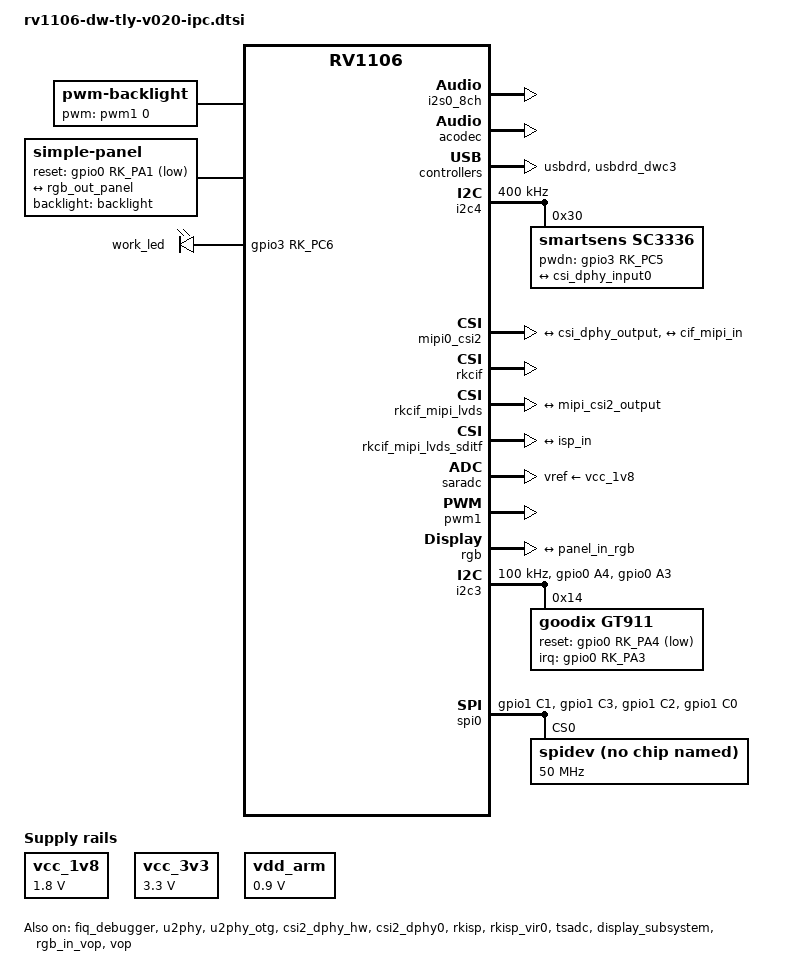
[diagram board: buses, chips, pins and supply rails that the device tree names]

// SPDX-License-Identifier: (GPL-2.0+ OR MIT)
/*
 * Copyright (c) 2022 Rockchip Electronics Co., Ltd.
 */
/* V020 板级专用副本；不修改 V014 的共用 dtsi。 */
#include "rv1106-amp.dtsi"
#include "rv1106-evb.dtsi"
#include <dt-bindings/input/input.h>
#include <dt-bindings/display/media-bus-format.h>

/ {
	chosen {
		bootargs = "earlycon=uart8250,mmio32,0xff4c0000 console=ttyFIQ0 root=/dev/mmcblk0p7 rootwait snd_soc_core.prealloc_buffer_size_kbytes=16 coherent_pool=0";
	};

	backlight: backlight {
		status = "okay";
		compatible = "pwm-backlight";
		pwms = <&pwm1 0 25000 12500>;
		brightness-levels = <
			  0   1   2   3   4   5   6   7
			  8   9  10  11  12  13  14  15
			 16  17  18  19  20  21  22  23
			 24  25  26  27  28  29  30  31
			 32  33  34  35  36  37  38  39
			 40  41  42  43  44  45  46  47
			 48  49  50  51  52  53  54  55
			 56  57  58  59  60  61  62  63
			 64  65  66  67  68  69  70  71
			 72  73  74  75  76  77  78  79
			 80  81  82  83  84  85  86  87
			 88  89  90  91  92  93  94  95
			 96  97  98  99 100 101 102 103
			104 105 106 107 108 109 110 111
			112 113 114 115 116 117 118 119
			120 121 122 123 124 125 126 127
			128 129 130 131 132 133 134 135
			136 137 138 139 140 141 142 143
			144 145 146 147 148 149 150 151
			152 153 154 155 156 157 158 159
			160 161 162 163 164 165 166 167
			168 169 170 171 172 173 174 175
			176 177 178 179 180 181 182 183
			184 185 186 187 188 189 190 191
			192 193 194 195 196 197 198 199
			200 201 202 203 204 205 206 207
			208 209 210 211 212 213 214 215
			216 217 218 219 220 221 222 223
			224 225 226 227 228 229 230 231
			232 233 234 235 236 237 238 239
			240 241 242 243 244 245 246 247
			248 249 250 251 252 253 254 255>;
		default-brightness-level = <255>;
	};

	panel: panel {
		compatible = "simple-panel";
		backlight = <&backlight>;

		reset-gpios = <&gpio0 RK_PA1 GPIO_ACTIVE_LOW>;
		reset-delay-ms = <200>;
		status = "okay";

		bus-format = <MEDIA_BUS_FMT_RGB666_1X18>;
		width-mm = <85>;
		height-mm = <85>;

		display-timings {
			native-mode = <&timing0>;

			timing0: timing0 {
				clock-frequency = <30000000>;
				hactive = <720>;
				vactive = <720>;
				hback-porch = <44>;
				hfront-porch = <46>;
				vback-porch = <18>;
				vfront-porch = <16>;
				hsync-len = <2>;
				vsync-len = <2>;
				hsync-active = <0>;
				vsync-active = <0>;
				de-active = <0>;
				pixelclk-active = <0>;
			};
		};

		port {
			panel_in_rgb: endpoint {
				remote-endpoint = <&rgb_out_panel>;
			};
		};
	};

	reserved_memory: reserved-memory {
		status = "okay";
		#address-cells = <1>;
		#size-cells = <1>;
		ranges;
		drm_logo: drm-logo@00000000 {
			compatible = "rockchip,drm-logo";
			reg = <0x0 0x0>;
		};
		linux,cma {
			status = "okay";
			compatible = "shared-dma-pool";
			inactive;
			reusable;
			size = <0xA00000>; //10M
			linux,cma-default;
		};
	};

	acodec_sound: acodec-sound {
		compatible = "simple-audio-card";
		simple-audio-card,name = "rv1106-acodec";
		simple-audio-card,format = "i2s";
		simple-audio-card,mclk-fs = <256>;
		simple-audio-card,cpu {
			sound-dai = <&i2s0_8ch>;
		};
		simple-audio-card,codec {
			sound-dai = <&acodec>;
		};
	};

	dsm_sound: dsm-sound {
		status = "disabled";
		compatible = "simple-audio-card";
		simple-audio-card,format = "i2s";
		simple-audio-card,mclk-fs = <256>;
		simple-audio-card,name = "rockchip,dsm-sound";
		simple-audio-card,bitclock-master = <&sndcodec>;
		simple-audio-card,frame-master = <&sndcodec>;
		sndcpu: simple-audio-card,cpu {
			sound-dai = <&i2s0_8ch>;
		};
		sndcodec: simple-audio-card,codec {
			sound-dai = <&dsm>;
		};
	};

	vcc_1v8: vcc-1v8 {
		compatible = "regulator-fixed";
		regulator-name = "vcc_1v8";
		regulator-always-on;
		regulator-boot-on;
		regulator-min-microvolt = <1800000>;
		regulator-max-microvolt = <1800000>;
	};

	vcc_3v3: vcc-3v3 {
		compatible = "regulator-fixed";
		regulator-name = "vcc_3v3";
		regulator-always-on;
		regulator-boot-on;
		regulator-min-microvolt = <3300000>;
		regulator-max-microvolt = <3300000>;
	};

	vdd_arm: vdd-arm {
		compatible = "regulator-fixed";
		regulator-name = "vdd_arm";
		regulator-min-microvolt = <900000>;
		regulator-max-microvolt = <900000>;
		regulator-always-on;

		regulator-boot-on;
	};

	leds: leds {
		compatible = "gpio-leds";
		work_led: work{
			gpios = <&gpio3 RK_PC6 GPIO_ACTIVE_HIGH>;
			linux,default-trigger = "activity";
			default-state = "on";
		};
	};
};

/***************************** audio ********************************/
&i2s0_8ch {
	#sound-dai-cells = <0>;
	status = "okay";
};

&acodec {
	#sound-dai-cells = <0>;
	pa-ctl-gpios = <&gpio3 RK_PD3 GPIO_ACTIVE_HIGH>;
	status = "okay";
};

/************************* FIQ_DUBUGGER ****************************/
&fiq_debugger {
	rockchip,irq-mode-enable = <1>;
	status = "okay";
};

/***************************** USB *********************************/
&u2phy {
	status = "okay";
};

&u2phy_otg {
	status = "okay";
};

&usbdrd {
	status = "okay";
};

&usbdrd_dwc3 {
	extcon = <&u2phy>;
	status = "okay";
};

/***************************** DSM *********************************/
&dsm {
	status = "disabled";
};

&cpu0 {
	cpu-supply = <&vdd_arm>;
};

/************************ CPU DVFS / OPP 电压限定 *************************
 * V020 的 CPU 电源是固定 0.9V：U9(RY3430) 的 FB 由 R26=10k(VDD_0V9→FB)、
 * R27=20k(FB→GND) 固定分压，L3 输出 VDD_0V9；网表上没有 CPU 侧 PWM/I2C
 * 到 U9 的控制路径。该轨同时接 RV1106 CPU_DVDD(pin115)、DVDD_1..7、
 * PMU_DVDD0V9、OSC_PLL_DVDD，因此**不能**随 CPU 频率抬高。
 *
 * 共用 rv1106.dtsi 的 cpu0-opp-table 是按可调 rail 设计的：1.416GHz 额定
 * 925mV、1.512GHz 975mV、1.608GHz 1000mV，均高于 0.9V。在这块板上运行时
 * 会以 -EINVAL 反复失败，来源有三处：
 *   1) rockchip_pvtpll_calibrate_opp() 在首个 u_volt>0.9V 的 OPP 上
 *      regulator_set_voltage 失败（rockchip_pvtpll_set_volt: -22）并中止校准；
 *   2) rockchip_system_monitor 低温补偿（rockchip,low-temp=10℃）会把 1.608GHz
 *      档的 (min,target,max) 抬成 (1000000,1000000,1000000)，固定 rail 无法
 *      满足（drivers/opp/core.c _set_opp_voltage: -22）；
 *   3) 上述失败使 cpu_opp_helper/__target_index 整个换档失败，日志刷屏。
 *
 * 处理：只保留额定电压 ≤0.9V 的档（≤1.296GHz，额定 875mV），并把保留档的
 * target/min/max 全部钉在 0.9V，使固定的 vdd_arm 与 OPP 请求一致；额定电压
 * 高于 0.9V 的档（≥1.416GHz）直接删除。不把固定 regulator 伪装成可调，也不
 * 删除 cpu-supply。
 * 注意：1.296GHz 是额定 ≤900mV 的最高档（875mV）；若日后实测该档在 0.9V 下
 * 不稳，应继续下调上限到 1.2GHz（额定 850mV）。
 */
&cpu0_opp_table {
	/* 与固定 0.9V 一致，禁止低温补偿把 OPP 电压抬到 >0.9V */
	rockchip,low-temp-min-volt = <900000>;

	/* 额定电压 >0.9V 的高压档，在 0.9V 下不可运行，删除 */
	/delete-node/ opp-1416000000;
	/delete-node/ opp-1512000000;
	/delete-node/ opp-1608000000;

	/* 保留档（≤1.296GHz）：target/min/max 全部 = 固定 rail 0.9V */
	opp-408000000 {
		opp-microvolt = <900000 900000 900000>;
	};
	opp-600000000 {
		opp-microvolt = <900000 900000 900000>;
	};
	opp-816000000 {
		opp-microvolt = <900000 900000 900000>;
	};
	opp-1104000000 {
		opp-microvolt = <900000 900000 900000>;
	};
	opp-1200000000 {
		opp-microvolt = <900000 900000 900000>;
	};
	opp-1296000000 {
		opp-microvolt = <900000 900000 900000>;
	};
};

/*************************** CSI *********************************/
&csi2_dphy_hw {
	status = "okay";
};

&csi2_dphy0 {
	status = "okay";

	ports {
		#address-cells = <1>;
		#size-cells = <0>;

		port@0 {
			reg = <0>;
			#address-cells = <1>;
			#size-cells = <0>;

			csi_dphy_input0: endpoint@0 {
				reg = <0>;
				remote-endpoint = <&sc3336_out>;
				data-lanes = <1 2>;
			};
		};

		port@1 {
			reg = <1>;
			#address-cells = <1>;
			#size-cells = <0>;

			csi_dphy_output: endpoint@0 {
				reg = <0>;
				remote-endpoint = <&mipi_csi2_input>;
			};
		};
	};
};

&i2c4 {
	status = "okay";
	clock-frequency = <400000>;
	//pinctrl-names = "default";
	//pinctrl-0 = <&i2c4m2_xfer>;

	sc3336: sc3336@30 {
		compatible = "smartsens,sc3336";
		status = "okay";
		reg = <0x30>;
		clocks = <&cru MCLK_REF_MIPI0>;
		clock-names = "xvclk";
		pwdn-gpios = <&gpio3 RK_PC5 GPIO_ACTIVE_HIGH>;
		pinctrl-names = "default";
		pinctrl-0 = <&mipi_refclk_out0>;
		rockchip,camera-module-index = <0>;
		rockchip,camera-module-facing = "back";
		rockchip,camera-module-name = "CMK-OT2119-PC1";
		rockchip,camera-module-lens-name = "30IRC-F16";
		port {
			sc3336_out: endpoint {
				remote-endpoint = <&csi_dphy_input0>;
				data-lanes = <1 2>;
			};
		};
	};
};

&mipi0_csi2 {
	status = "okay";

	ports {
		#address-cells = <1>;
		#size-cells = <0>;

		port@0 {
			reg = <0>;
			#address-cells = <1>;
			#size-cells = <0>;

			mipi_csi2_input: endpoint@1 {
				reg = <1>;
				remote-endpoint = <&csi_dphy_output>;
			};
		};

		port@1 {
			reg = <1>;
			#address-cells = <1>;
			#size-cells = <0>;

			mipi_csi2_output: endpoint@0 {
				reg = <0>;
				remote-endpoint = <&cif_mipi_in>;
			};
		};
	};
};

&rkcif {
	status = "okay";
};

&rkcif_mipi_lvds {
	status = "okay";

	pinctrl-names = "default";
	pinctrl-0 = <&mipi_pins>;
	port {
		/* MIPI CSI-2 endpoint */
		cif_mipi_in: endpoint {
			remote-endpoint = <&mipi_csi2_output>;
		};
	};
};

&rkcif_mipi_lvds_sditf {
	status = "okay";

	port {
		/* MIPI CSI-2 endpoint */
		mipi_lvds_sditf: endpoint {
			remote-endpoint = <&isp_in>;
		};
	};
};

&rkisp {
	status = "okay";
};

&rkisp_vir0 {
	status = "okay";

	port@0 {
		isp_in: endpoint {
			remote-endpoint = <&mipi_lvds_sditf>;
		};
	};
};

/***************************** ADC ********************************/
&saradc {
	status = "okay";
	vref-supply = <&vcc_1v8>;
};

&tsadc {
	status = "okay";
};

/**************************** LCD/TP ******************************/
&pwm1 {
	status = "okay";
	pinctrl-names = "active";
	pinctrl-0 = <&pwm1m2_pins>;
};

&display_subsystem {
	status = "okay";
	logo-memory-region = <&drm_logo>;
};

&rgb {
	status = "okay";
	pinctrl-names = "default";
	pinctrl-0 = <&lcd_pins>;

	ports {
		rgb_out: port@1 {
			reg = <1>;
			#address-cells = <1>;
			#size-cells = <0>;

			rgb_out_panel: endpoint@0 {
				reg = <0>;
				remote-endpoint = <&panel_in_rgb>;
			};
		};
	};
};

&rgb_in_vop {
	status = "okay";
};

&route_rgb {
	status = "disabled";
};

&vop {
	status = "okay";
};

&i2c3 {
    clock-frequency = <100000>;
    GT911:touchscreen {
      compatible = "goodix,gt911";
      reg = <0x14>;

      interrupt-parent = <&gpio0>;
      interrupts = <RK_PA3 IRQ_TYPE_EDGE_FALLING>;

      reset-gpios = <&gpio0 RK_PA4 GPIO_ACTIVE_LOW>;
      pinctrl-names = "default";
    };
};

/**************************** PINCTRL ******************************/
// SPI
&spi0 {
	pinctrl-0 = <&spi0m0_clk &spi0m0_miso &spi0m0_mosi &spi0m0_cs0>;
	#address-cells = <1>;
	#size-cells = <0>;
	spidev@0 {
		compatible = "rockchip,spidev";
		spi-max-frequency = <50000000>;
		reg = <0>;
	};
};

// I2C
&i2c1 {
	pinctrl-0 = <&i2c1m1_xfer>;
};
&i2c2 {
	pinctrl-0 = <&i2c2m0_xfer>;
};
&i2c3 {
	pinctrl-0 = <&i2c3m0_xfer &i2c3m1_xfer &i2c3m2_xfer &tp_rst &tp_irq>;
};
&i2c4 {
	/* 仅 i2c4m2（GPIO3），勿含 m0（GPIO2 与 SD 卡 sdmmc1m0 冲突） */
	pinctrl-0 = <&i2c4m2_xfer>;
};

// UART
&uart0 {
	pinctrl-0 = <&uart0m0_xfer &uart0m1_xfer>;
};
&uart1 {
	pinctrl-0 = <&uart1m1_xfer>;
};
&uart3 {
	pinctrl-0 = <&uart3m0_xfer &uart3m1_xfer>;
};
&uart4 {
	pinctrl-0 = <&uart4m0_xfer>;
};
&uart5 {
	pinctrl-0 = <&uart5m1_xfer>;
};

// PWM
&pwm0 {
	pinctrl-0 = <&pwm0m1_pins>;
};
&pwm2 {
	pinctrl-0 = <&pwm2m1_pins &pwm2m2_pins>;
};
&pwm3 {
	pinctrl-0 = <&pwm3m2_pins>;
};
&pwm4 {
	pinctrl-0 = <&pwm4m0_pins &pwm4m1_pins &pwm4m2_pins>;
};
&pwm5 {
	pinctrl-0 = <&pwm5m1_pins &pwm5m2_pins>;
};
&pwm6 {
	pinctrl-0 = <&pwm6m1_pins &pwm6m2_pins>;
};
&pwm7 {
	pinctrl-0 = <&pwm7m0_pins &pwm7m1_pins>;
};
&pwm8 {
	pinctrl-0 = <&pwm8m1_pins>;
};
&pwm9 {
	pinctrl-0 = <&pwm9m1_pins>;
};
&pwm10 {
	pinctrl-0 = <&pwm10m1_pins &pwm10m2_pins>;
};
&pwm11 {
	pinctrl-0 = <&pwm11m1_pins &pwm11m2_pins>;
};

&pinctrl {
	spi0 {
		spi0m0_clk: spi0m0-clk {
			rockchip,pins = <1 RK_PC1 4 &pcfg_pull_none>;
		};
		spi0m0_mosi: spi0m0-mosi {
			rockchip,pins = <1 RK_PC2 6 &pcfg_pull_none>;
		};
		spi0m0_miso: spi0m0-miso {
			rockchip,pins = <1 RK_PC3 6 &pcfg_pull_none>;
		};
		spi0m0_cs0: spi0m0-cs0 {
			rockchip,pins = <1 RK_PC0 4 &pcfg_pull_none>;
		};
	};

	touchscreen {
		tp_rst:tp-rst {
			rockchip,pins = <0 RK_PA4 RK_FUNC_GPIO &pcfg_pull_up>;
		};

		tp_irq:tp-irq {
			rockchip,pins = <0 RK_PA3 RK_FUNC_GPIO &pcfg_pull_none>;
		};
	};
};
